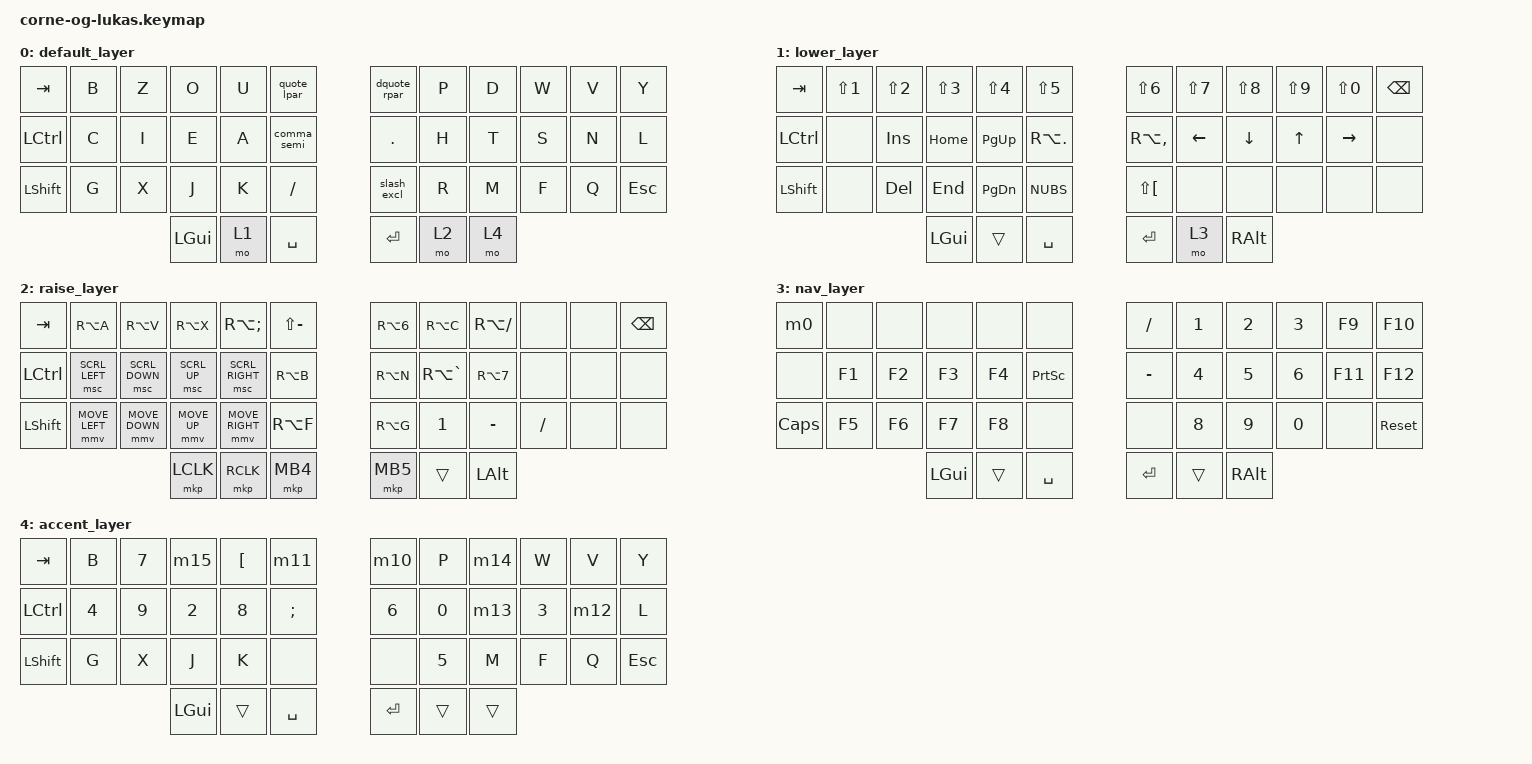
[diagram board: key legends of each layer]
#include <behaviors.dtsi>
#include <dt-bindings/zmk/keys.h>
#include <dt-bindings/zmk/mouse.h>
#include <dt-bindings/zmk/bt.h>

#define ZMK_POINTING_DEFAULT_MOVE_VAL 2000  // default: 600
#define ZMK_POINTING_DEFAULT_SCRL_VAL 20    // default: 10

#include <dt-bindings/zmk/pointing.h>

/ {
    behaviors {
        fn1: tri_layer_1 {
            compatible = "zmk,behavior-tri-layer";
            #binding-cells = <0>;
            bindings = <&mo 1>, <&mo 2>, <&mo 3>;
        };

        comma_semi: comma_semi {
            compatible = "zmk,behavior-mod-morph";
            #binding-cells = <0>;
            bindings = <&kp COMMA>, <&kp GRAVE>;
            mods = <(MOD_LSFT|MOD_RSFT)>;
            //keep-mods = <(MOD_LSFT|MOD_RSFT)>;
        };

        quote_lpar: quote_lpar {
            compatible = "zmk,behavior-mod-morph";
            #binding-cells = <0>;
            bindings = <&kp LS(BSLH)>, <&kp LS(RBKT)>;  // ' → shift+]=(
            mods = <(MOD_LSFT|MOD_RSFT)>;
        };

        dquote_rpar: dquote_rpar {
            compatible = "zmk,behavior-mod-morph";
            #binding-cells = <0>;
            bindings = <&kp LS(SEMI)>, <&kp RBKT>;  // " → ]=)
            mods = <(MOD_LSFT|MOD_RSFT)>;
        };

        slash_excl: slash_excl {
            compatible = "zmk,behavior-mod-morph";
            #binding-cells = <0>;
            bindings = <&kp LS(COMMA)>, <&kp LS(SQT)>;  // ? → shift+'=!
            mods = <(MOD_LSFT|MOD_RSFT)>;
        };
    };

    macros {
        m0: m0 {
            compatible = "zmk,behavior-macro";
            #binding-cells = <0>;
            bindings = <&kp R &kp O &kp O &kp T>, <&macro_wait_time 300>, <&kp RET>, <&macro_wait_time 20>,
                     <&kp E &kp H &kp Z &kp N7 &kp H &kp I &kp U &kp G>, <&macro_wait_time 300>, <&kp RET>,
                     <&kp W &kp L &kp I &kp N &kp I &kp T &kp RET>;
        };
        m10: m10 {
            compatible = "zmk,behavior-macro";
            #binding-cells = <0>;
            bindings = <&kp RA(EQUAL) &kp O>;
        };
        m11: m11 {
            compatible = "zmk,behavior-macro";
            #binding-cells = <0>;
            bindings = <&kp RA(EQUAL) &kp A>;
        };
        m12: m12 {
            compatible = "zmk,behavior-macro";
            #binding-cells = <0>;
            bindings = <&kp LS(EQUAL) &kp N>;
        };
        m13: m13 {
            compatible = "zmk,behavior-macro";
            #binding-cells = <0>;
            bindings = <&kp LS(EQUAL) &kp T>;
        };
        m14: m14 {
            compatible = "zmk,behavior-macro";
            #binding-cells = <0>;
            bindings = <&kp LS(EQUAL) &kp D>;
        };
        m15: m15 {
            compatible = "zmk,behavior-macro";
            #binding-cells = <0>;
            bindings = <&kp EQUAL &kp O>;
        };
    };

    keymap {
        compatible = "zmk,keymap";

        default_layer {
            bindings = <
&kp TAB    &kp B  &kp Z  &kp O  &kp U  &quote_lpar       &dquote_rpar  &kp P  &kp D  &kp W  &kp V  &kp Y
&kp LCTRL  &kp C  &kp I  &kp E  &kp A  &comma_semi       &kp DOT       &kp H  &kp T  &kp S  &kp N  &kp L
&kp LSHFT  &kp G  &kp X  &kp J  &kp K  &kp SLASH         &slash_excl   &kp R  &kp M  &kp F  &kp Q  &kp ESC
                         &kp LGUI  &mo 1  &kp SPACE      &kp RET  &mo 2  &mo 4
            >;
        };

        lower_layer {
            bindings = <
&kp TAB    &kp LS(N1)  &kp LS(N2)  &kp LS(N3)  &kp LS(N4)  &kp LS(N5)       &kp LS(N6)  &kp LS(N7)  &kp LS(N8)  &kp LS(N9)  &kp LS(N0)  &kp BSPC
&kp LCTRL  &none       &kp INS     &kp HOME    &kp PG_UP   &kp RA(DOT)      &kp RA(COMMA) &kp LEFT  &kp DOWN    &kp UP      &kp RIGHT   &none
&kp LSHFT  &none       &kp DEL     &kp END     &kp PG_DN   &kp NUBS         &kp LS(LBKT)  &none     &none       &none       &none       &none
                                   &kp LGUI    &trans      &kp SPACE        &kp RET   &mo 3       &kp RALT
            >;
        };

        raise_layer {
            bindings = <
&kp TAB    &kp RA(A)       &kp RA(V)       &kp RA(X)     &kp RA(SEMI)    &kp LS(MINUS)    &kp RA(N6)  &kp RA(C)     &kp RA(SLASH)  &none       &none       &kp BSPC
&kp LCTRL  &msc SCRL_LEFT  &msc SCRL_DOWN  &msc SCRL_UP  &msc SCRL_RIGHT &kp RA(B)        &kp RA(N)   &kp RA(GRAVE) &kp RA(N7)     &none       &none       &none
&kp LSHFT  &mmv MOVE_LEFT  &mmv MOVE_DOWN  &mmv MOVE_UP  &mmv MOVE_RIGHT &kp RA(F)        &kp RA(G)   &kp N1        &kp MINUS      &kp SLASH   &none       &none
                                           &mkp LCLK     &mkp RCLK       &mkp MB4         &mkp MB5    &trans      &kp LALT
            >;
        };

        nav_layer {
            bindings = <
&m0       &none      &none    &none    &none    &none           &kp SLASH  &kp N1  &kp N2  &kp N3  &kp F9   &kp F10
&none     &kp F1     &kp F2   &kp F3   &kp F4   &kp PSCRN       &kp MINUS  &kp N4  &kp N5  &kp N6  &kp F11  &kp F12
&kp CAPS  &kp F5     &kp F6   &kp F7   &kp F8   &none           &none      &kp N8  &kp N9  &kp N0  &none    &sys_reset
                              &kp LGUI &trans   &kp SPACE       &kp RET   &trans     &kp RALT
            >;
        };

        accent_layer {
            bindings = <
&kp TAB    &kp B       &kp N7     &m15     &kp LBKT     &m11            &m10      &kp P   &m14   &kp W   &kp V      &kp Y
&kp LCTRL  &kp N4      &kp N9     &kp N2   &kp N8       &kp SEMI        &kp N6    &kp N0  &m13   &kp N3  &m12       &kp L
&kp LSHFT  &kp G       &kp X      &kp J    &kp K        &none           &none     &kp N5  &kp M  &kp F   &kp Q      &kp ESC
                                  &kp LGUI &trans       &kp SPACE       &kp RET   &trans    &trans
            >;
        };
    };
};

/*
&kscan0 {
    row-gpios
        = <&pro_micro 4 (GPIO_ACTIVE_HIGH | GPIO_PULL_DOWN)>  // pin 022 - row 0
        , <&pro_micro 5 (GPIO_ACTIVE_HIGH | GPIO_PULL_DOWN)>  // pin 024 - row 1
        , <&gpio1     6 (GPIO_ACTIVE_HIGH | GPIO_PULL_DOWN)>  // pin 106 - row 2 NEW!
        , <&pro_micro 7 (GPIO_ACTIVE_HIGH | GPIO_PULL_DOWN)>  // pin 011 - row 3
        ;
};
*/
